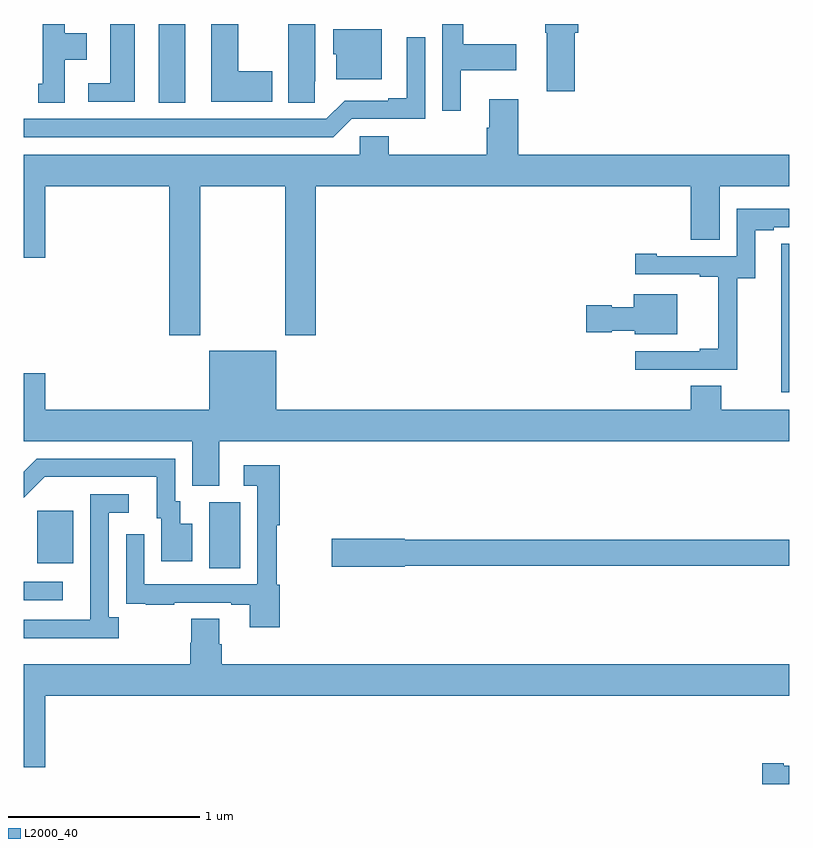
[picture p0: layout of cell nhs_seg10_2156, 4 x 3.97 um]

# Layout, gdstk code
import gdstk
lib = gdstk.Library(unit=1e-6, precision=1e-09)
def R(c, l, rs):  # rectangles x0, y0, x1, y1
    for r in rs: c.add(gdstk.rectangle(r[:2], r[2:], *l))
def P(c, l, *ps):  # polygons
    for p in ps: c.add(gdstk.Polygon(p, *l))
L2000_40 = (2000, 40)

nhs_seg10_2156 = lib.new_cell('nhs_seg10_2156')
R(nhs_seg10_2156, L2000_40, [(225,1295.487,225.202,1295.583), (225.968,1295.656,226.132,1296), (225.071,1295.681,225.259,1295.956), (225.704,1298.089,225.844,1298.5)])
P(nhs_seg10_2156, L2000_40, [(226.521,1298.2),(226.522,1298.2),(226.522,1298.5),(226.382,1298.5),(226.382,1298.089),(226.521,1298.089)],
  [(227.284,1298.258),(227.575,1298.258),(227.575,1298.393),(227.296,1298.393),(227.296,1298.5),(227.187,1298.5),(227.187,1298.046),(227.284,1298.046)],
  [(226.297,1298.253),(226.12,1298.253),(226.12,1298.5),(225.98,1298.5),(225.98,1298.093),(226.297,1298.093)],
  [(225.214,1298.312),(225.328,1298.312),(225.328,1298.452),(225.214,1298.452),(225.214,1298.5),(225.098,1298.5),(225.098,1298.187),(225.074,1298.187),(225.074,1298.089),(225.214,1298.089)],
  [(225.58,1298.5),(225.452,1298.5),(225.452,1298.19),(225.336,1298.19),(225.336,1298.094),(225.58,1298.094)],
  [(227.879,1298.454),(227.897,1298.454),(227.897,1298.5),(227.726,1298.5),(227.726,1298.454),(227.732,1298.454),(227.732,1298.148),(227.879,1298.148)],
  [(226.87,1298.473),(226.616,1298.473),(226.616,1298.343),(226.634,1298.343),(226.634,1298.21),(226.87,1298.21)],
  [(226.713,1298.004),(227.097,1298.004),(227.097,1298.431),(227,1298.431),(227,1298.113),(226.904,1298.113),(226.904,1298.1),(226.677,1298.1),(226.581,1298.004),(225,1298.004),(225,1297.908),(226.617,1297.908)],
  [(225.921,1297.652),(226.366,1297.652),(226.366,1296.873),(226.526,1296.873),(226.526,1297.652),(228.485,1297.652),(228.485,1297.372),(228.637,1297.372),(228.637,1297.652),(229,1297.652),(229,1297.816),(227.585,1297.816),(227.585,1298.107),(227.432,1298.107),(227.432,1297.958),(227.42,1297.958),(227.42,1297.816),(226.907,1297.816),(226.907,1297.914),(226.755,1297.914),(226.755,1297.816),(225,1297.816),(225,1297.278),(225.112,1297.278),(225.112,1297.652),(225.761,1297.652),(225.761,1296.873),(225.921,1296.873)],
  [(228.729,1297.171),(228.823,1297.171),(228.823,1297.422),(228.919,1297.422),(228.919,1297.437),(229,1297.437),(229,1297.533),(228.726,1297.533),(228.726,1297.287),(228.307,1297.287),(228.307,1297.3),(228.195,1297.3),(228.195,1297.191),(228.533,1297.191),(228.533,1297.179),(228.629,1297.179),(228.629,1296.802),(228.533,1296.802),(228.533,1296.789),(228.195,1296.789),(228.195,1296.693),(228.729,1296.693)],
  [(229,1297.352),(228.96,1297.352),(228.96,1297.244),(228.959,1297.244),(228.959,1296.576),(229,1296.576)],
  [(228.415,1297.087),(228.188,1297.087),(228.188,1297.018),(228.072,1297.018),(228.072,1297.031),(227.94,1297.031),(227.94,1296.889),(228.072,1296.889),(228.072,1296.896),(228.192,1296.896),(228.192,1296.878),(228.415,1296.878)],
  [(226.021,1296.32),(229,1296.32),(229,1296.484),(228.645,1296.484),(228.645,1296.608),(228.485,1296.608),(228.485,1296.484),(226.318,1296.484),(226.318,1296.793),(225.968,1296.793),(225.968,1296.484),(225.112,1296.484),(225.112,1296.673),(225,1296.673),(225,1296.32),(225.881,1296.32),(225.881,1296.085),(226.021,1296.085)],
  [(225.88,1295.887),(225.817,1295.887),(225.817,1296.006),(225.792,1296.006),(225.792,1296.228),(225.068,1296.228),(225,1296.16),(225,1296.024),(225.108,1296.132),(225.695,1296.132),(225.695,1295.916),(225.719,1295.916),(225.719,1295.691),(225.88,1295.691)],
  [(226.337,1295.568),(226.322,1295.568),(226.322,1295.88),(226.337,1295.88),(226.337,1296.193),(226.149,1296.193),(226.149,1296.087),(226.221,1296.087),(226.221,1295.571),(225.63,1295.571),(225.63,1295.833),(225.534,1295.833),(225.534,1295.578),(225.535,1295.578),(225.535,1295.469),(225.637,1295.469),(225.637,1295.463),(225.785,1295.463),(225.785,1295.475),(226.085,1295.475),(226.085,1295.463),(226.181,1295.463),(226.181,1295.346),(226.337,1295.346)],
  [(225.496,1295.398),(225.444,1295.398),(225.444,1295.946),(225.547,1295.946),(225.547,1296.042),(225.348,1296.042),(225.348,1295.585),(225.347,1295.585),(225.347,1295.385),(225,1295.385),(225,1295.288),(225.496,1295.288)],
  [(226.992,1295.668),(229,1295.668),(229,1295.804),(226.992,1295.804),(226.992,1295.81),(226.608,1295.81),(226.608,1295.663),(226.992,1295.663)],
  [(225.112,1294.988),(229,1294.988),(229,1295.152),(226.034,1295.152),(226.034,1295.258),(226.021,1295.258),(226.021,1295.39),(225.874,1295.39),(225.874,1295.265),(225.869,1295.265),(225.869,1295.152),(225,1295.152),(225,1294.614),(225.112,1294.614)],
  [(229,1294.623),(228.973,1294.623),(228.973,1294.636),(228.861,1294.636),(228.861,1294.527),(229,1294.527)])

lib.write_gds('nhs_seg10_2156.gds')
